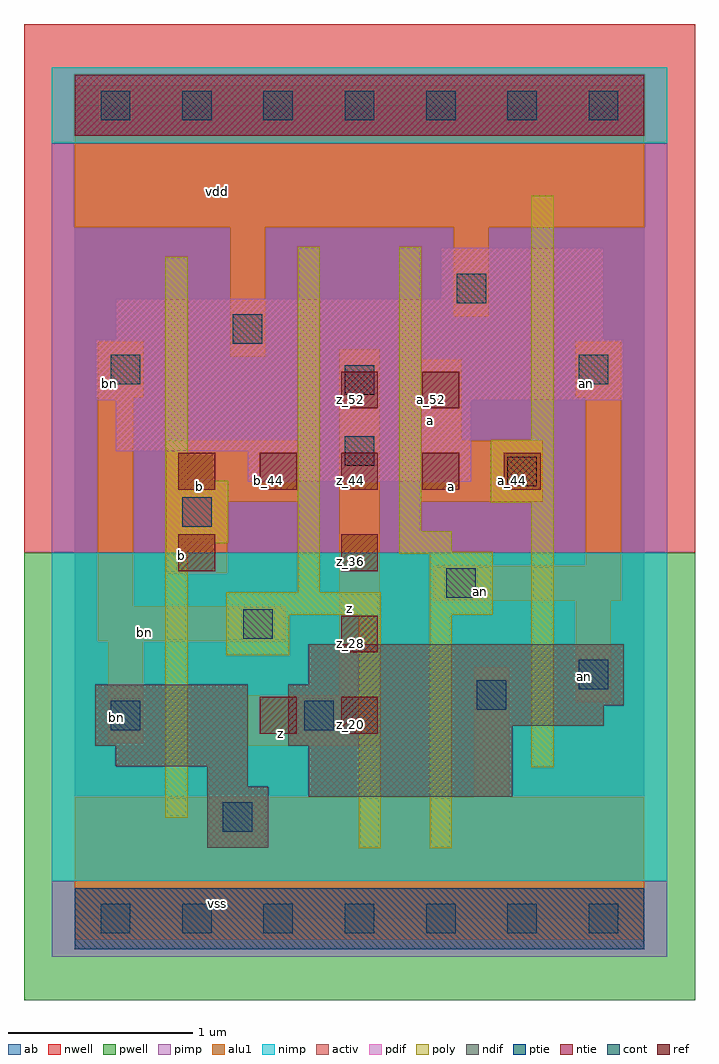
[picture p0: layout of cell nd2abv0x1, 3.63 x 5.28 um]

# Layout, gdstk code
import gdstk
lib = gdstk.Library(unit=1e-6, precision=2.5e-09)
def R(c, l, rs):  # rectangles x0, y0, x1, y1
    for r in rs: c.add(gdstk.rectangle(r[:2], r[2:], *l))
def A(c, l, x, y, w, h, nx, ny, dx, dy):  # array of equal rectangles
    R(c, l, [(x+i*dx, y+j*dy, x+i*dx+w, y+j*dy+h) for i in range(nx) for j in range(ny)])
ndif = (3, 0)
pdif = (4, 0)
ntie = (5, 0)
ptie = (6, 0)
ref = (24, 0)
cont = (25, 0)
pwell = (41, 0)
nwell = (42, 0)
activ = (43, 0)
pimp = (44, 0)
nimp = (45, 0)
poly = (46, 0)
alu1 = (49, 0)
ab = (63, 0)

nd2abv0x1 = lib.new_cell('nd2abv0x1')
R(nd2abv0x1, ndif, [(0.715,0.385,1.045,0.715), (1.265,0.66,2.365,0.935), (0.715,0.715,0.935,0.825), (0.22,0.825,0.935,0.935), (0.11,0.935,0.935,1.265), (1.155,0.935,2.365,1.045), (1.155,1.045,2.86,1.155), (1.155,1.155,2.97,1.265), (1.265,1.265,2.97,1.485)])
R(nd2abv0x1, pdif, [(0.935,2.365,2.145,2.53), (0.22,2.53,2.145,2.805), (0.11,2.805,2.97,3.135), (0.22,3.135,2.86,3.355), (1.98,3.355,2.86,3.63)])
R(nd2abv0x1, ntie, [(0,4.235,3.08,4.565)])
R(nd2abv0x1, ptie, [(0,-0.165,3.08,0.165)])
A(nd2abv0x1, ref, 1.44, 1, 0.2, 0.2, 1, 3, 0, 0.44)
A(nd2abv0x1, ref, 0.56, 2.32, 0.2, 0.2, 5, 1, 0.44, 0)
R(nd2abv0x1, ref, [(1,1,1.2,1.2), (0.56,1.88,0.76,2.08), (1.44,2.76,1.64,2.96), (1.88,2.76,2.08,2.96)])
A(nd2abv0x1, cont, 0.14, -0.08, 0.16, 0.16, 7, 2, 0.44, 4.4)
R(nd2abv0x1, cont, [(0.8,0.47,0.96,0.63), (0.195,1.02,0.355,1.18), (1.24,1.02,1.4,1.18), (2.175,1.13,2.335,1.29), (2.725,1.24,2.885,1.4), (0.91,1.515,1.07,1.675), (2.01,1.735,2.17,1.895), (0.58,2.12,0.74,2.28), (2.34,2.34,2.5,2.5), (1.46,2.45,1.62,2.61), (1.46,2.835,1.62,2.995), (0.195,2.89,0.355,3.05), (2.725,2.89,2.885,3.05), (0.855,3.11,1.015,3.27), (2.065,3.33,2.225,3.49)])
R(nd2abv0x1, pwell, [(-0.275,-0.44,3.355,1.98)])
R(nd2abv0x1, nwell, [(-0.275,1.98,3.355,4.84)])
R(nd2abv0x1, activ, [(0,-0.165,3.08,0.165), (0.715,0.385,1.045,0.715), (1.265,0.66,2.365,0.935), (0.715,0.715,0.935,0.825), (0.22,0.825,0.935,0.935), (0.11,0.935,0.935,1.265), (1.155,0.935,2.365,1.045), (1.155,1.045,2.86,1.155), (1.155,1.155,2.97,1.265), (1.265,1.265,2.97,1.485), (0.935,2.365,2.145,2.53), (0.22,2.53,2.145,2.805), (0.11,2.805,2.97,3.135), (0.22,3.135,2.86,3.355), (1.98,3.355,2.86,3.63), (0,4.235,3.08,4.565)])
R(nd2abv0x1, pimp, [(-0.125,-0.205,3.205,0.205), (-0.125,1.98,3.205,4.195)])
R(nd2abv0x1, nimp, [(-0.125,0.205,3.205,1.98), (-0.125,4.195,3.205,4.605)])
R(nd2abv0x1, poly, [(1.535,0.38,1.655,1.645), (1.92,0.38,2.04,1.645), (0.49,0.545,0.61,2.03), (2.47,0.82,2.59,2.25), (0.82,1.425,1.16,1.645), (0.82,1.645,1.655,1.765), (1.92,1.645,2.26,1.975), (1.205,1.765,1.325,3.635), (1.755,1.975,2.26,1.985), (1.755,1.985,2.04,2.095), (0.49,2.03,0.83,2.37), (1.755,2.095,1.875,3.635), (2.25,2.25,2.59,2.59), (0.49,2.37,0.61,3.58), (2.47,2.59,2.59,3.91)])
R(nd2abv0x1, alu1, [(0,-0.11,3.08,0.66), (2.16,0.66,2.35,1.36), (0.935,0.935,1.65,1.21), (0.18,0.95,0.37,1.5), (2.71,1.17,2.9,1.72), (1.43,1.21,1.65,3.08), (0.125,1.5,1.14,1.69), (0.125,1.69,0.315,2.82), (1.94,1.72,2.955,1.91), (0.495,1.87,0.825,2.255), (2.765,1.91,2.955,2.82), (0.495,2.255,1.21,2.585), (1.87,2.255,2.53,2.585), (1.87,2.585,2.09,3.025), (0.125,2.82,0.37,3.12), (2.71,2.82,2.955,3.12), (0.84,3.04,1.03,3.74), (2.05,3.26,2.24,3.74), (0,3.74,3.08,4.51)])
R(nd2abv0x1, ab, [(0,0,3.08,4.4)])
nd2abv0x1.add(gdstk.Label('vss', (0.77,0.0825), layer=49, texttype=0))
nd2abv0x1.add(gdstk.Label('an', (2.7575,1.3075), layer=49, texttype=0))
nd2abv0x1.add(gdstk.Label('z', (1.1125,1.0025), layer=49, texttype=0))
nd2abv0x1.add(gdstk.Label('an', (2.1925,1.7675), layer=49, texttype=0))
nd2abv0x1.add(gdstk.Label('a', (2.035,2.3375), layer=49, texttype=0))
nd2abv0x1.add(gdstk.Label('an', (2.77,2.895), layer=49, texttype=0))
nd2abv0x1.add(gdstk.Label('a', (1.925,2.695), layer=49, texttype=0))
nd2abv0x1.add(gdstk.Label('z', (1.485,1.6775), layer=49, texttype=0))
nd2abv0x1.add(gdstk.Label('bn', (0.2275,1.0875), layer=49, texttype=0))
nd2abv0x1.add(gdstk.Label('bn', (0.3775,1.5475), layer=49, texttype=0))
nd2abv0x1.add(gdstk.Label('b', (0.5775,1.965), layer=49, texttype=0))
nd2abv0x1.add(gdstk.Label('b', (0.6725,2.3375), layer=49, texttype=0))
nd2abv0x1.add(gdstk.Label('bn', (0.185,2.895), layer=49, texttype=0))
nd2abv0x1.add(gdstk.Label('vdd', (0.77,3.9325), layer=49, texttype=0))
nd2abv0x1.add(gdstk.Label('b_36', (0.61,1.93), layer=24, texttype=0))
nd2abv0x1.add(gdstk.Label('b_44', (0.61,2.37), layer=24, texttype=0))
nd2abv0x1.add(gdstk.Label('z_20', (1.05,1.05), layer=24, texttype=0))
nd2abv0x1.add(gdstk.Label('b_44', (1.05,2.37), layer=24, texttype=0))
nd2abv0x1.add(gdstk.Label('z_20', (1.49,1.05), layer=24, texttype=0))
nd2abv0x1.add(gdstk.Label('z_28', (1.49,1.49), layer=24, texttype=0))
nd2abv0x1.add(gdstk.Label('z_36', (1.49,1.93), layer=24, texttype=0))
nd2abv0x1.add(gdstk.Label('z_44', (1.49,2.37), layer=24, texttype=0))
nd2abv0x1.add(gdstk.Label('z_52', (1.49,2.81), layer=24, texttype=0))
nd2abv0x1.add(gdstk.Label('a_44', (1.93,2.37), layer=24, texttype=0))
nd2abv0x1.add(gdstk.Label('a_52', (1.93,2.81), layer=24, texttype=0))
nd2abv0x1.add(gdstk.Label('a_44', (2.37,2.37), layer=24, texttype=0))

lib.write_gds('nd2abv0x1.gds')
